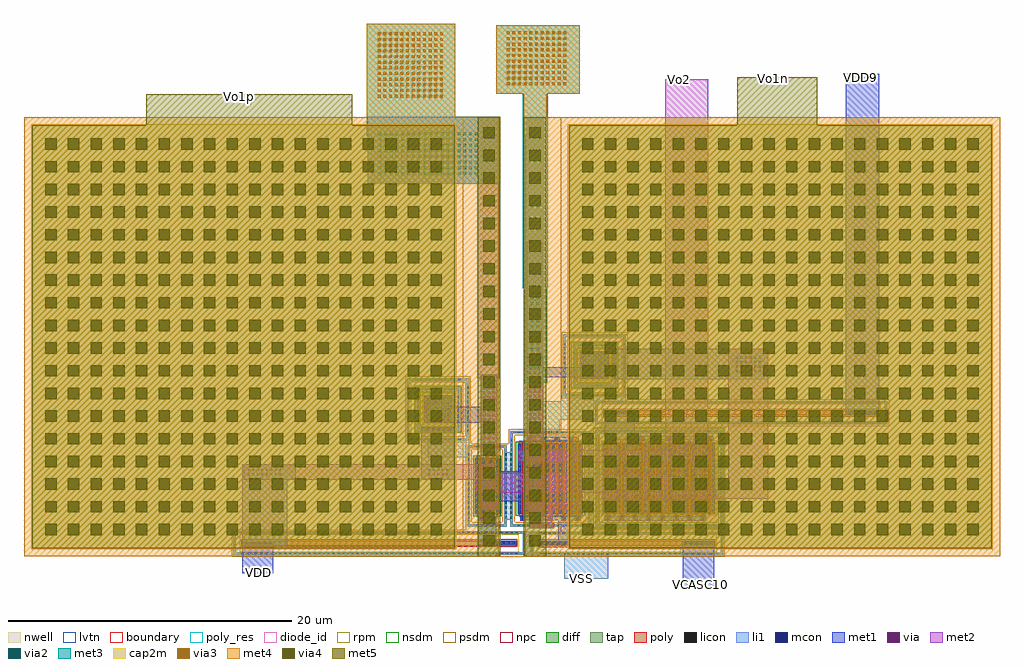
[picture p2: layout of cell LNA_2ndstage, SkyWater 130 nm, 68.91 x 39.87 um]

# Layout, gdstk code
from math import pi, radians
import gdstk
lib = gdstk.Library(unit=1e-6, precision=1e-09)
def R(c, l, rs):  # rectangles x0, y0, x1, y1
    for r in rs: c.add(gdstk.rectangle(r[:2], r[2:], *l))
def A(c, l, x, y, w, h, nx, ny, dx, dy):  # array of equal rectangles
    R(c, l, [(x+i*dx, y+j*dy, x+i*dx+w, y+j*dy+h) for i in range(nx) for j in range(ny)])
nwell = (64, 20)
diff = (65, 20)
tap = (65, 44)
poly_res = (66, 13)
poly = (66, 20)
licon = (66, 44)
li1 = (67, 20)
mcon = (67, 44)
met1 = (68, 20)
via = (68, 44)
met2 = (69, 20)
via2 = (69, 44)
met3 = (70, 20)
via3 = (70, 44)
met4 = (71, 20)
via4 = (71, 44)
met5 = (72, 20)
diode_id = (81, 23)
rpm = (86, 20)
nsdm = (93, 44)
psdm = (94, 20)
npc = (95, 20)
cap2m = (97, 44)
lvtn = (125, 44)
boundary = (235, 4)

sky130_fd_pr__diode_pd2n = lib.new_cell('sky130_fd_pr__diode_pd2nw_05v5_WW7YB9')
R(sky130_fd_pr__diode_pd2n, nwell, [(-1.69,-1.69,1.69,1.69)])
R(sky130_fd_pr__diode_pd2n, diff, [(-1,-1,1,1)])
R(sky130_fd_pr__diode_pd2n, tap, [(-2.2,-2.2,2.2,-2.03), (-2.2,-2.03,-2.03,2.03), (2.03,-2.03,2.2,2.03), (-1.51,-1.51,1.51,-1.34), (-1.51,-1.34,-1.34,1.34), (1.34,-1.34,1.51,1.34), (-1.51,1.34,1.51,1.51), (-2.2,2.03,2.2,2.2)])
A(sky130_fd_pr__diode_pd2n, licon, -1.615, -2.2, 0.17, 0.17, 10, 2, 0.34, 4.23)
A(sky130_fd_pr__diode_pd2n, licon, -2.2, -1.615, 0.17, 0.17, 1, 10, 0, 0.34)
A(sky130_fd_pr__diode_pd2n, licon, 2.03, -1.615, 0.17, 0.17, 1, 10, 0, 0.34)
A(sky130_fd_pr__diode_pd2n, licon, -0.935, -1.51, 0.17, 0.17, 6, 2, 0.34, 0.575)
A(sky130_fd_pr__diode_pd2n, licon, -1.51, -0.935, 0.17, 0.17, 1, 6, 0, 0.34)
A(sky130_fd_pr__diode_pd2n, licon, 1.34, -0.935, 0.17, 0.17, 1, 6, 0, 0.34)
A(sky130_fd_pr__diode_pd2n, licon, -0.935, -0.595, 0.17, 0.17, 6, 5, 0.34, 0.34)
A(sky130_fd_pr__diode_pd2n, licon, -0.935, 1.34, 0.17, 0.17, 6, 1, 0.34, 0)
R(sky130_fd_pr__diode_pd2n, li1, [(-2.2,-2.2,2.2,-2.03), (-2.2,-2.03,-2.03,2.03), (2.03,-2.03,2.2,2.03), (-1.51,-1.51,1.51,-1.34), (-1.51,-1.34,-1.34,1.34), (1.34,-1.34,1.51,1.34), (-1.02,-0.94,1.02,0.94), (-1.51,1.34,1.51,1.51), (-2.2,2.03,2.2,2.2)])
A(sky130_fd_pr__diode_pd2n, mcon, -0.805, -0.805, 0.17, 0.17, 5, 5, 0.36, 0.36)
R(sky130_fd_pr__diode_pd2n, met1, [(-1,-0.97,1,0.97)])
R(sky130_fd_pr__diode_pd2n, diode_id, [(-1,-1,1,1)])
R(sky130_fd_pr__diode_pd2n, nsdm, [(-1.635,-1.635,1.635,-1.215), (-1.635,-1.215,-1.215,1.215), (1.215,-1.215,1.635,1.215), (-1.635,1.215,1.635,1.635)])
R(sky130_fd_pr__diode_pd2n, psdm, [(-2.325,-2.325,2.325,-1.905), (-2.325,-1.905,-1.905,1.905), (1.905,-1.905,2.325,1.905), (-1.125,-1.125,1.125,1.125), (-2.325,1.905,2.325,2.325)])
R(sky130_fd_pr__diode_pd2n, boundary, [(-1.42,-1.42,1.42,1.42)])

sky130_fd_pr__nfet_01v8_ = lib.new_cell('sky130_fd_pr__nfet_01v8_lvt_EN8PG3')
R(sky130_fd_pr__nfet_01v8_, diff, [(-0.865,-2,0.865,2)])
R(sky130_fd_pr__nfet_01v8_, tap, [(-1.375,-2.87,1.375,-2.7), (-1.375,-2.7,-1.205,2.7), (1.205,-2.7,1.375,2.7), (-1.375,2.7,1.375,2.87)])
R(sky130_fd_pr__nfet_01v8_, poly, [(-0.645,-2.44,-0.315,-2.11), (0.315,-2.44,0.645,-2.11), (-0.075,-2.13,0.075,2.11), (-0.555,-2.11,-0.405,2.13), (0.405,-2.11,0.555,2.13), (-0.165,2.11,0.165,2.44)])
A(sky130_fd_pr__nfet_01v8_, licon, -0.765, -2.87, 0.17, 0.17, 5, 2, 0.34, 5.57)
A(sky130_fd_pr__nfet_01v8_, licon, -1.375, -2.295, 0.17, 0.17, 1, 14, 0, 0.34)
A(sky130_fd_pr__nfet_01v8_, licon, 1.205, -2.295, 0.17, 0.17, 1, 14, 0, 0.34)
A(sky130_fd_pr__nfet_01v8_, licon, -0.805, -1.785, 0.17, 0.17, 4, 11, 0.48, 0.34)
R(sky130_fd_pr__nfet_01v8_, licon, [(-0.565,-2.36,-0.395,-2.19), (0.395,-2.36,0.565,-2.19), (-0.085,2.19,0.085,2.36)])
A(sky130_fd_pr__nfet_01v8_, li1, -0.805, -2.02, 0.17, 4.04, 4, 1, 0.48, 0)
R(sky130_fd_pr__nfet_01v8_, li1, [(-1.375,-2.87,1.375,-2.7), (-1.375,-2.7,-1.205,2.7), (1.205,-2.7,1.375,2.7), (-0.645,-2.36,-0.315,-2.19), (0.315,-2.36,0.645,-2.19), (-0.165,2.19,0.165,2.36), (-1.375,2.7,1.375,2.87)])
A(sky130_fd_pr__nfet_01v8_, mcon, -0.805, -1.885, 0.17, 0.17, 4, 11, 0.48, 0.36)
R(sky130_fd_pr__nfet_01v8_, mcon, [(-0.565,-2.36,-0.395,-2.19), (0.395,-2.36,0.565,-2.19), (-0.085,2.19,0.085,2.36)])
A(sky130_fd_pr__nfet_01v8_, met1, -0.835, -2, 0.23, 4, 4, 1, 0.48, 0)
R(sky130_fd_pr__nfet_01v8_, met1, [(-0.625,-2.39,-0.335,-2.16), (0.335,-2.39,0.625,-2.16), (-0.145,2.16,0.145,2.39)])
R(sky130_fd_pr__nfet_01v8_, nsdm, [(-0.99,-2.125,0.99,2.125)])
R(sky130_fd_pr__nfet_01v8_, psdm, [(-1.5,-2.995,1.5,-2.575), (-1.5,-2.575,-1.08,2.575), (1.08,-2.575,1.5,2.575), (-1.5,2.575,1.5,2.995)])
R(sky130_fd_pr__nfet_01v8_, npc, [(-0.665,-2.46,-0.295,-2.09), (0.295,-2.46,0.665,-2.09), (-0.185,2.09,0.185,2.46)])
R(sky130_fd_pr__nfet_01v8_, lvtn, [(-0.735,-2.18,0.735,2.18)])
R(sky130_fd_pr__nfet_01v8_, boundary, [(-1.29,-2.785,1.29,2.785)])

sky130_fd_pr__cap_mim_m3 = lib.new_cell('sky130_fd_pr__cap_mim_m3_2_LJ5JLG')
R(sky130_fd_pr__cap_mim_m3, met4, [(-16.755,-15.5,16.755,15.5)])
A(sky130_fd_pr__cap_mim_m3, via4, 15.665, -14.8, 0.8, 0.8, 1, 19, 0, 1.6)
A(sky130_fd_pr__cap_mim_m3, via4, -15.255, -14, 0.8, 0.8, 18, 18, 1.6, 1.6)
R(sky130_fd_pr__cap_mim_m3, met5, [(15.265,-15.505,16.865,15.505), (-16.175,-14.92,13.665,14.92)])
R(sky130_fd_pr__cap_mim_m3, cap2m, [(-16.255,-15,13.745,15)])
R(sky130_fd_pr__cap_mim_m3, boundary, [(-16.755,-15.5,14.245,15.5)])

sky130_fd_pr__res_high_p = lib.new_cell('sky130_fd_pr__res_high_po_0p35_MGFMH8')
R(sky130_fd_pr__res_high_p, tap, [(-0.825,-10.31,0.825,-10.14), (-0.825,-10.14,-0.655,10.14), (0.655,-10.14,0.825,10.14), (-0.825,10.14,0.825,10.31)])
R(sky130_fd_pr__res_high_p, poly_res, [(-0.175,-7.56,0.175,7.56)])
R(sky130_fd_pr__res_high_p, poly, [(-0.175,-9.66,0.175,9.66)])
A(sky130_fd_pr__res_high_p, licon, -0.825, -9.775, 0.17, 0.17, 1, 58, 0, 0.34)
A(sky130_fd_pr__res_high_p, licon, 0.655, -9.775, 0.17, 0.17, 1, 58, 0, 0.34)
R(sky130_fd_pr__res_high_p, licon, [(-0.255,-10.31,-0.085,-10.14), (0.085,-10.31,0.255,-10.14), (-0.095,-9.58,0.095,-7.58), (-0.095,7.58,0.095,9.58), (-0.255,10.14,-0.085,10.31), (0.085,10.14,0.255,10.31)])
R(sky130_fd_pr__res_high_p, li1, [(-0.825,-10.31,0.825,-10.14), (-0.825,-10.14,-0.655,10.14), (0.655,-10.14,0.825,10.14), (-0.175,-9.66,0.175,-7.5), (-0.175,7.5,0.175,9.66), (-0.825,10.14,0.825,10.31)])
A(sky130_fd_pr__res_high_p, mcon, -0.085, -9.565, 0.17, 0.17, 1, 6, 0, 0.36)
A(sky130_fd_pr__res_high_p, mcon, -0.085, 7.59, 0.17, 0.17, 1, 6, 0, 0.36)
R(sky130_fd_pr__res_high_p, met1, [(-0.125,-9.63,0.125,-7.525), (-0.125,7.525,0.125,9.63)])
R(sky130_fd_pr__res_high_p, rpm, [(-0.635,-9.86,0.635,9.86)])
R(sky130_fd_pr__res_high_p, psdm, [(-0.95,-10.435,0.95,10.435)])
R(sky130_fd_pr__res_high_p, npc, [(-0.27,-9.755,0.27,9.755)])
R(sky130_fd_pr__res_high_p, boundary, [(-0.74,-10.225,0.74,10.225)])

c_sky130_fd_pr__nfet_01v8_ = lib.new_cell('sky130_fd_pr__nfet_01v8_lvt_USGZYX')
R(c_sky130_fd_pr__nfet_01v8_, diff, [(-2.305,-2.5,2.305,2.5)])
R(c_sky130_fd_pr__nfet_01v8_, tap, [(-2.815,-3.37,2.815,-3.2), (-2.815,-3.2,-2.645,3.2), (2.645,-3.2,2.815,3.2), (-2.815,3.2,2.815,3.37)])
A(c_sky130_fd_pr__nfet_01v8_, poly, -2.085, -2.94, 0.33, 0.33, 5, 1, 0.96, 0)
A(c_sky130_fd_pr__nfet_01v8_, poly, -1.515, -2.63, 0.15, 5.24, 4, 1, 0.96, 0)
A(c_sky130_fd_pr__nfet_01v8_, poly, -1.995, -2.61, 0.15, 5.24, 5, 1, 0.96, 0)
A(c_sky130_fd_pr__nfet_01v8_, poly, -1.605, 2.61, 0.33, 0.33, 4, 1, 0.96, 0)
A(c_sky130_fd_pr__nfet_01v8_, licon, -2.295, -3.37, 0.17, 0.17, 14, 2, 0.34, 6.57)
A(c_sky130_fd_pr__nfet_01v8_, licon, -2.005, -2.86, 0.17, 0.17, 5, 1, 0.96, 0)
A(c_sky130_fd_pr__nfet_01v8_, licon, -2.815, -2.805, 0.17, 0.17, 1, 17, 0, 0.34)
A(c_sky130_fd_pr__nfet_01v8_, licon, 2.645, -2.805, 0.17, 0.17, 1, 17, 0, 0.34)
A(c_sky130_fd_pr__nfet_01v8_, licon, -2.245, -2.295, 0.17, 0.17, 10, 14, 0.48, 0.34)
A(c_sky130_fd_pr__nfet_01v8_, licon, -1.525, 2.69, 0.17, 0.17, 4, 1, 0.96, 0)
A(c_sky130_fd_pr__nfet_01v8_, li1, -2.085, -2.86, 0.33, 0.17, 5, 1, 0.96, 0)
A(c_sky130_fd_pr__nfet_01v8_, li1, -2.245, -2.52, 0.17, 5.04, 10, 1, 0.48, 0)
A(c_sky130_fd_pr__nfet_01v8_, li1, -1.605, 2.69, 0.33, 0.17, 4, 1, 0.96, 0)
R(c_sky130_fd_pr__nfet_01v8_, li1, [(-2.815,-3.37,2.815,-3.2), (-2.815,-3.2,-2.645,3.2), (2.645,-3.2,2.815,3.2), (-2.815,3.2,2.815,3.37)])
A(c_sky130_fd_pr__nfet_01v8_, mcon, -2.005, -2.86, 0.17, 0.17, 5, 1, 0.96, 0)
A(c_sky130_fd_pr__nfet_01v8_, mcon, -2.245, -2.425, 0.17, 0.17, 10, 14, 0.48, 0.36)
A(c_sky130_fd_pr__nfet_01v8_, mcon, -1.525, 2.69, 0.17, 0.17, 4, 1, 0.96, 0)
A(c_sky130_fd_pr__nfet_01v8_, met1, -2.065, -2.89, 0.29, 0.23, 5, 1, 0.96, 0)
A(c_sky130_fd_pr__nfet_01v8_, met1, -2.275, -2.5, 0.23, 5, 10, 1, 0.48, 0)
A(c_sky130_fd_pr__nfet_01v8_, met1, -1.585, 2.66, 0.29, 0.23, 4, 1, 0.96, 0)
R(c_sky130_fd_pr__nfet_01v8_, nsdm, [(-2.43,-2.625,2.43,2.625)])
R(c_sky130_fd_pr__nfet_01v8_, psdm, [(-2.94,-3.495,2.94,-3.075), (-2.94,-3.075,-2.52,3.075), (2.52,-3.075,2.94,3.075), (-2.94,3.075,2.94,3.495)])
A(c_sky130_fd_pr__nfet_01v8_, npc, -2.105, -2.96, 0.37, 0.37, 5, 1, 0.96, 0)
A(c_sky130_fd_pr__nfet_01v8_, npc, -1.625, 2.59, 0.37, 0.37, 4, 1, 0.96, 0)
R(c_sky130_fd_pr__nfet_01v8_, lvtn, [(-2.175,-2.68,2.175,2.68)])
R(c_sky130_fd_pr__nfet_01v8_, boundary, [(-2.73,-3.285,2.73,3.285)])

sky130_fd_pr__pfet_01v8_ = lib.new_cell('sky130_fd_pr__pfet_01v8_VCU74W')
R(sky130_fd_pr__pfet_01v8_, nwell, [(-4.675,-3.595,4.675,3.595)])
R(sky130_fd_pr__pfet_01v8_, diff, [(-3.985,-2.5,3.985,2.5)])
R(sky130_fd_pr__pfet_01v8_, tap, [(-4.495,-3.415,4.495,-3.245), (-4.495,-3.245,-4.325,3.245), (4.325,-3.245,4.495,3.245), (-4.495,3.245,4.495,3.415)])
A(sky130_fd_pr__pfet_01v8_, poly, -3.765, -2.985, 0.33, 0.33, 8, 1, 0.96, 0)
A(sky130_fd_pr__pfet_01v8_, poly, -3.675, -2.655, 0.15, 5.285, 8, 1, 0.96, 0)
A(sky130_fd_pr__pfet_01v8_, poly, -3.195, -2.63, 0.15, 5.285, 8, 1, 0.96, 0)
A(sky130_fd_pr__pfet_01v8_, poly, -3.285, 2.655, 0.33, 0.33, 8, 1, 0.96, 0)
A(sky130_fd_pr__pfet_01v8_, licon, -3.995, -3.415, 0.17, 0.17, 24, 2, 0.34, 6.66)
A(sky130_fd_pr__pfet_01v8_, licon, -3.685, -2.905, 0.17, 0.17, 8, 1, 0.96, 0)
A(sky130_fd_pr__pfet_01v8_, licon, -4.495, -2.805, 0.17, 0.17, 1, 17, 0, 0.34)
A(sky130_fd_pr__pfet_01v8_, licon, 4.325, -2.805, 0.17, 0.17, 1, 17, 0, 0.34)
A(sky130_fd_pr__pfet_01v8_, licon, -3.925, -2.295, 0.17, 0.17, 17, 14, 0.48, 0.34)
A(sky130_fd_pr__pfet_01v8_, licon, -3.205, 2.735, 0.17, 0.17, 8, 1, 0.96, 0)
A(sky130_fd_pr__pfet_01v8_, li1, -3.765, -2.905, 0.33, 0.17, 8, 1, 0.96, 0)
A(sky130_fd_pr__pfet_01v8_, li1, -3.925, -2.52, 0.17, 5.04, 17, 1, 0.48, 0)
A(sky130_fd_pr__pfet_01v8_, li1, -3.285, 2.735, 0.33, 0.17, 8, 1, 0.96, 0)
R(sky130_fd_pr__pfet_01v8_, li1, [(-4.495,-3.415,4.495,-3.245), (-4.495,-3.245,-4.325,3.245), (4.325,-3.245,4.495,3.245), (-4.495,3.245,4.495,3.415)])
A(sky130_fd_pr__pfet_01v8_, mcon, -3.685, -2.905, 0.17, 0.17, 8, 1, 0.96, 0)
A(sky130_fd_pr__pfet_01v8_, mcon, -3.925, -2.425, 0.17, 0.17, 17, 14, 0.48, 0.36)
A(sky130_fd_pr__pfet_01v8_, mcon, -3.205, 2.735, 0.17, 0.17, 8, 1, 0.96, 0)
A(sky130_fd_pr__pfet_01v8_, met1, -3.745, -2.935, 0.29, 0.23, 8, 1, 0.96, 0)
A(sky130_fd_pr__pfet_01v8_, met1, -3.955, -2.5, 0.23, 5, 17, 1, 0.48, 0)
A(sky130_fd_pr__pfet_01v8_, met1, -3.265, 2.705, 0.29, 0.23, 8, 1, 0.96, 0)
R(sky130_fd_pr__pfet_01v8_, nsdm, [(-4.62,-3.54,4.62,-3.12), (-4.62,-3.12,-4.2,3.12), (4.2,-3.12,4.62,3.12), (-4.62,3.12,4.62,3.54)])
R(sky130_fd_pr__pfet_01v8_, psdm, [(-4.11,-2.625,4.11,2.625)])
A(sky130_fd_pr__pfet_01v8_, npc, -3.785, -3.005, 0.37, 0.37, 8, 1, 0.96, 0)
A(sky130_fd_pr__pfet_01v8_, npc, -3.305, 2.635, 0.37, 0.37, 8, 1, 0.96, 0)
R(sky130_fd_pr__pfet_01v8_, boundary, [(-4.41,-3.33,4.41,3.33)])

c_sky130_fd_pr__res_high_p = lib.new_cell('sky130_fd_pr__res_high_po_0p35_V3QVRN')
R(c_sky130_fd_pr__res_high_p, tap, [(-0.825,-6.81,0.825,-6.64), (-0.825,-6.64,-0.655,6.64), (0.655,-6.64,0.825,6.64), (-0.825,6.64,0.825,6.81)])
R(c_sky130_fd_pr__res_high_p, poly_res, [(-0.175,-4.06,0.175,4.06)])
R(c_sky130_fd_pr__res_high_p, poly, [(-0.175,-6.16,0.175,6.16)])
A(c_sky130_fd_pr__res_high_p, licon, -0.825, -6.205, 0.17, 0.17, 1, 37, 0, 0.34)
A(c_sky130_fd_pr__res_high_p, licon, 0.655, -6.205, 0.17, 0.17, 1, 37, 0, 0.34)
R(c_sky130_fd_pr__res_high_p, licon, [(-0.255,-6.81,-0.085,-6.64), (0.085,-6.81,0.255,-6.64), (-0.095,-6.08,0.095,-4.08), (-0.095,4.08,0.095,6.08), (-0.255,6.64,-0.085,6.81), (0.085,6.64,0.255,6.81)])
R(c_sky130_fd_pr__res_high_p, li1, [(-0.825,-6.81,0.825,-6.64), (-0.825,-6.64,-0.655,6.64), (0.655,-6.64,0.825,6.64), (-0.175,-6.16,0.175,-4), (-0.175,4,0.175,6.16), (-0.825,6.64,0.825,6.81)])
A(c_sky130_fd_pr__res_high_p, mcon, -0.085, -6.065, 0.17, 0.17, 1, 6, 0, 0.36)
A(c_sky130_fd_pr__res_high_p, mcon, -0.085, 4.09, 0.17, 0.17, 1, 6, 0, 0.36)
R(c_sky130_fd_pr__res_high_p, met1, [(-0.125,-6.13,0.125,-4.025), (-0.125,4.025,0.125,6.13)])
R(c_sky130_fd_pr__res_high_p, rpm, [(-0.635,-6.36,0.635,6.36)])
R(c_sky130_fd_pr__res_high_p, psdm, [(-0.95,-6.935,0.95,6.935)])
R(c_sky130_fd_pr__res_high_p, npc, [(-0.27,-6.255,0.27,6.255)])
R(c_sky130_fd_pr__res_high_p, boundary, [(-0.74,-6.725,0.74,6.725)])

lna_2ndstage = lib.new_cell('LNA_2ndstage')
R(lna_2ndstage, poly, [(1.12,4.9,1.85,5.23), (7.02,5.9,7.75,6.26), (16.47,5.92,16.97,6.32)])
R(lna_2ndstage, li1, [(6.73,-3.765,9.86,-1.925), (3.805,-2.08,4.57,-0.445), (3.805,-0.445,4.56,-0.44), (4.38,-0.06,5.82,0.11), (2.51,0.4,3.11,5.17), (17.19,1.89,17.92,4.36), (-2.9,4.815,0.03,6.12), (4.34,6.46,6.435,7.47), (-3.07,6.685,-1.22,6.855), (4.34,7.47,9.12,8.745), (4.34,8.745,11.08,8.75), (6.515,8.75,11.08,9.305), (6.52,9.305,9.12,9.31), (10.225,10.415,10.395,12.33)])
A(lna_2ndstage, mcon, 4.475, -0.06, 0.17, 0.17, 4, 1, 0.36, 0)
A(lna_2ndstage, mcon, -2.95, 6.685, 0.17, 0.17, 5, 1, 0.36, 0)
A(lna_2ndstage, mcon, 10.225, 10.565, 0.17, 0.17, 1, 5, 0, 0.36)
R(lna_2ndstage, met1, [(15.105,-4.445,17.345,-1.085), (-15.98,-3.365,-13.795,-1.47), (-15.995,-1.47,-12.83,3.255), (6.315,-1.44,7.16,0.35), (0.645,-1.435,1.945,0.34), (4.31,-0.21,6.05,0.14), (4.37,0.14,5.82,0.21), (0.63,0.34,1.945,0.6), (9.58,0.34,16.78,0.63), (3.63,0.35,7.92,0.64), (0.63,0.6,1.93,0.62), (0.92,1.11,1.26,1.8), (1.82,1.11,2.13,1.72), (4.86,1.14,5.24,1.59), (6.8,1.14,7.17,1.18), (3.92,1.15,4.29,1.62), (5.81,1.15,6.18,1.62), (7.72,1.15,8.09,1.2), (6.78,1.18,7.17,1.61), (7.71,1.2,8.09,1.61), (4.86,1.59,5.23,1.61), (6.78,1.61,6.84,1.63), (7.72,1.61,8.09,1.62), (1.82,1.72,3.66,1.79), (1.95,1.79,3.66,3.81), (9.42,1.87,9.78,2.54), (10.39,1.87,10.7,2.53), (16.14,1.87,16.49,2.53), (12.29,1.88,12.64,2.54), (13.25,1.88,13.56,2.54), (14.23,1.88,14.58,2.54), (15.19,1.88,15.54,2.54), (11.3,1.89,11.61,1.92), (17.08,1.89,17.43,2.55), (11.3,1.92,11.62,2.52), (11.3,2.52,11.61,2.55), (-3.35,3.24,-1.03,6.93), (-15.995,3.255,-12.225,4.28), (1.43,3.79,1.75,3.84), (0.48,3.81,0.78,4.27), (1.42,3.84,1.75,4.23), (1.43,4.23,1.75,4.29), (-15.995,4.28,-12.83,4.325), (16.56,4.45,16.94,5.3), (7.29,4.46,7.63,5.27), (9.86,4.47,10.29,5.3), (12.74,4.47,13.17,5.3), (13.68,4.47,14.11,5.3), (15.6,4.47,16.03,5.3), (10.81,4.48,11.24,5.31), (11.78,4.48,12.21,5.31), (14.65,4.48,15.08,5.31), (6.29,4.49,6.63,5.3), (4.4,4.5,4.74,5.31), (5.34,4.5,5.68,5.31), (3.47,4.51,3.82,5.27), (1.03,4.935,1.855,5), (0.83,5,2.01,7.25), (15.6,5.3,15.98,5.32), (4.08,5.96,7.38,6.25), (9.585,6.045,11.725,6.05), (9.585,6.05,17.27,6.33), (4.105,6.25,5.27,10.45), (9.585,6.33,11.725,8.13), (-1.54,7.25,2.01,8.37), (26.75,7.775,28.955,7.785), (26.605,7.785,28.97,31.88), (0.83,8.37,2.01,10.65), (10.15,10.33,21.14,12.455), (4.105,10.45,8.47,11.17), (4.105,11.17,5.27,11.875)])
A(lna_2ndstage, via, 4.54, -0.025, 0.15, 0.15, 4, 1, 0.32, 0)
A(lna_2ndstage, via, -15.62, 3.535, 0.15, 0.15, 8, 2, 0.32, 0.32)
A(lna_2ndstage, via, -2.87, 3.545, 0.15, 0.15, 5, 2, 0.32, 0.32)
A(lna_2ndstage, via, 5.43, 4.645, 0.15, 0.15, 3, 2, 0.97, 0.32)
A(lna_2ndstage, via, 1.03, 5.125, 0.15, 0.15, 3, 17, 0.32, 0.32)
A(lna_2ndstage, via, 4.265, 6.175, 0.15, 0.15, 3, 17, 0.32, 0.32)
A(lna_2ndstage, via, 18.86, 10.82, 0.15, 0.15, 6, 4, 0.32, 0.32)
R(lna_2ndstage, via, [(1.02,1.215,1.17,1.365), (1.915,1.215,2.065,1.365), (4.03,1.31,4.18,1.46), (4.98,1.31,5.13,1.46), (5.92,1.31,6.07,1.46), (6.9,1.32,7.05,1.47), (7.82,1.33,7.97,1.48), (1.02,1.535,1.17,1.685), (1.915,1.535,2.065,1.685), (9.53,1.965,9.68,2.115), (10.47,1.965,10.62,2.115), (12.39,1.965,12.54,2.115), (15.28,1.965,15.43,2.115), (16.23,1.965,16.38,2.115), (13.34,1.975,13.49,2.125), (17.19,1.975,17.34,2.125), (11.41,1.985,11.56,2.135), (14.32,1.985,14.47,2.135), (9.53,2.285,9.68,2.435), (10.47,2.285,10.62,2.435), (12.39,2.285,12.54,2.435), (15.28,2.285,15.43,2.435), (16.23,2.285,16.38,2.435), (13.34,2.295,13.49,2.445), (17.19,2.295,17.34,2.445), (11.41,2.305,11.56,2.455), (14.32,2.305,14.47,2.455), (0.535,3.96,0.685,4.11), (1.475,3.96,1.625,4.11), (10.94,4.645,11.09,4.795), (12.87,4.645,13.02,4.795), (3.59,4.655,3.74,4.805), (4.51,4.655,4.66,4.805), (10,4.655,10.15,4.805), (11.92,4.655,12.07,4.805), (13.81,4.655,13.96,4.805), (16.66,4.655,16.81,4.805), (15.74,4.665,15.89,4.815), (14.79,4.675,14.94,4.825), (10.94,4.965,11.09,5.115), (12.87,4.965,13.02,5.115), (3.59,4.975,3.74,5.125), (4.51,4.975,4.66,5.125), (10,4.975,10.15,5.125), (11.92,4.975,12.07,5.125), (13.81,4.975,13.96,5.125), (16.66,4.975,16.81,5.125), (15.74,4.985,15.89,5.135), (14.79,4.995,14.94,5.145)])
R(lna_2ndstage, met2, [(4.34,-0.09,5.88,1.14), (0.91,1.1,2.16,1.81), (3.93,1.14,8.08,1.64), (9.44,1.88,21.135,2.315), (0.49,2.315,21.135,2.54), (0.49,2.54,14.22,3.22), (18.31,2.54,21.135,12.455), (-15.89,3.22,14.22,3.72), (-15.89,3.72,1.765,4.3), (16.56,4.45,16.94,4.46), (7.27,4.46,16.94,4.47), (3.47,4.47,16.94,5.3), (1.04,4.97,1.81,4.995), (0.83,4.995,2.01,10.4), (13.88,5.3,16.9,10.355), (4.105,5.96,5.27,6.06), (4.08,6.06,5.27,11.88), (13.875,10.355,16.9,31.505), (0.6,10.4,2.2,24.11), (4.11,11.88,5.2,19.98), (-7.14,24.11,2.22,28.84), (0.6,28.84,2.2,28.85)])
A(lna_2ndstage, via2, 4.36, 11.145, 0.2, 0.2, 1, 14, 0, 0.4)
A(lna_2ndstage, via2, 4.76, 11.145, 0.2, 0.2, 1, 14, 0, 0.4)
A(lna_2ndstage, via2, -6.38, 24.745, 0.2, 0.2, 18, 8, 0.4, 0.4)
R(lna_2ndstage, met3, [(3.87,10.06,5.53,16.74), (3.82,16.74,5.56,30.46), (-7.14,24.11,2.22,27.48), (-7.2,27.48,2.22,28.84), (-7.2,28.84,-0.97,35.42), (1.93,30.46,7.83,35.31)])
A(lna_2ndstage, via3, -6.42, 30.2, 0.2, 0.2, 12, 12, 0.4, 0.4)
A(lna_2ndstage, via3, 2.68, 31.075, 0.2, 0.2, 11, 10, 0.4, 0.4)
R(lna_2ndstage, met4, [(0.89,5.04,1.96,10.48), (4.19,6.06,5.13,11.565), (-7.2,27.48,-0.97,35.42), (3.87,27.48,5.49,30.46), (1.93,30.46,7.83,35.31)])
R(lna_2ndstage, met5, [(-22.785,25.9,-8.235,30.42), (18.95,27.1,24.6,31.63)])
R(lna_2ndstage, psdm, [(4.12,-2.205,4.215,-0.315), (4.12,-0.315,8.695,-0.305), (-0.21,-0.305,8.695,-0.21), (2.79,-0.21,8.695,-0.205), (2.79,-0.205,2.815,5.78), (-0.22,5.705,-0.21,5.78), (-0.22,5.78,0.165,5.87), (0.155,5.87,0.165,5.945), (8.695,6.7,8.805,6.785), (8.32,6.785,8.805,6.875), (8.32,6.875,9.175,7), (8.32,7,8.8,7.085), (8.8,8.9,11.21,8.975)])
lna_2ndstage.add(gdstk.Reference(sky130_fd_pr__diode_pd2n, (-2.17,8.195)))
lna_2ndstage.add(gdstk.Reference(sky130_fd_pr__nfet_01v8_, (1.29,2.785)))
lna_2ndstage.add(gdstk.Reference(sky130_fd_pr__cap_mim_m3, (-14.645,13.32)))
lna_2ndstage.add(gdstk.Reference(sky130_fd_pr__res_high_p, (-6.315,-1.255), rotation=pi/2))
lna_2ndstage.add(gdstk.Reference(sky130_fd_pr__diode_pd2n, (8.885,11.3)))
lna_2ndstage.add(gdstk.Reference(c_sky130_fd_pr__nfet_01v8_, (5.755,3.29)))
lna_2ndstage.add(gdstk.Reference(sky130_fd_pr__pfet_01v8_, (13.425,3.335)))
lna_2ndstage.add(gdstk.Reference(c_sky130_fd_pr__res_high_p, (11.15,-1.265), rotation=3*pi/2))
lna_2ndstage.add(gdstk.Reference(sky130_fd_pr__cap_mim_m3, (20.75,13.315), rotation=pi))
lna_2ndstage.add(gdstk.Reference(sky130_fd_pr__res_high_p, (19.235,7.95), rotation=pi/2))
lna_2ndstage.add(gdstk.Label('VCASC10', (16.36,-4.2), layer=68, texttype=5))
lna_2ndstage.add(gdstk.Label('VDD9', (27.675,31.645), layer=68, texttype=5))
lna_2ndstage.add(gdstk.Label('Vo2', (14.91,31.495), layer=69, texttype=5))
lna_2ndstage.add(gdstk.Label('Vo1p', (-16.17,30.245), layer=72, texttype=5))
lna_2ndstage.add(gdstk.Label('Vo1n', (21.505,31.58), layer=72, texttype=5))
lna_2ndstage.add(gdstk.Label('VDD', (-14.82,-3.345), layer=68, texttype=5))
lna_2ndstage.add(gdstk.Label('VSS', (7.99,-3.75), layer=67, texttype=5))

lib.write_gds('LNA_2ndstage.gds')
